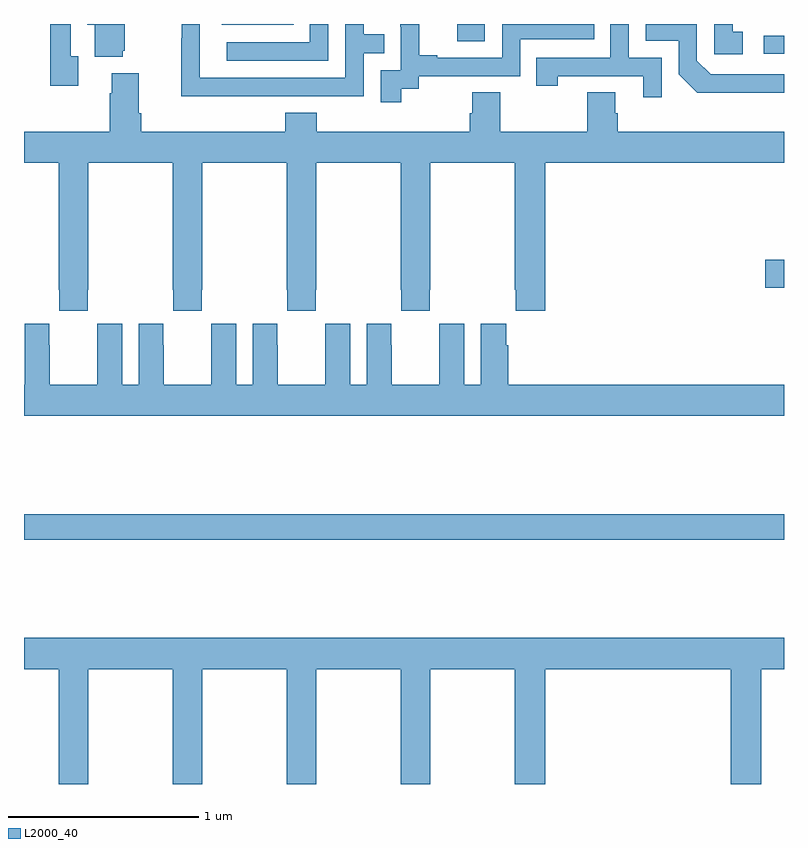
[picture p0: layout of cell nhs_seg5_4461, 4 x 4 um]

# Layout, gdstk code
import gdstk
lib = gdstk.Library(unit=1e-6, precision=1e-09)
def R(c, l, rs):  # rectangles x0, y0, x1, y1
    for r in rs: c.add(gdstk.rectangle(r[:2], r[2:], *l))
def P(c, l, *ps):  # polygons
    for p in ps: c.add(gdstk.Polygon(p, *l))
L2000_40 = (2000, 40)

nhs_seg5_4461 = lib.new_cell('nhs_seg5_4461')
R(nhs_seg5_4461, L2000_40, [(373,880.084,377,880.22), (376.902,881.411,377,881.558), (376.893,882.642,377,882.738), (375.279,882.708,375.426,882.799), (374.042,882.794,374.42,882.799)])
P(nhs_seg5_4461, L2000_40, [(374.601,882.799),(374.505,882.799),(374.505,882.702),(374.067,882.702),(374.067,882.606),(374.601,882.606)],
  [(376.356,882.621),(376.182,882.621),(376.182,882.799),(376.086,882.799),(376.086,882.621),(375.697,882.621),(375.697,882.474),(375.808,882.474),(375.808,882.525),(376.259,882.525),(376.259,882.414),(376.356,882.414)],
  [(373.285,882.63),(373.245,882.63),(373.245,882.799),(373.137,882.799),(373.137,882.474),(373.285,882.474)],
  [(373.52,882.657),(373.531,882.657),(373.531,882.799),(373.334,882.799),(373.334,882.794),(373.373,882.794),(373.373,882.626),(373.52,882.626)],
  [(374.291,882.42),(374.787,882.42),(374.787,882.645),(374.897,882.645),(374.897,882.746),(374.787,882.746),(374.787,882.799),(374.691,882.799),(374.691,882.516),(373.926,882.516),(373.926,882.799),(373.83,882.799),(373.83,882.725),(373.828,882.725),(373.828,882.419),(374.291,882.419)],
  [(376.783,882.759),(376.73,882.759),(376.73,882.799),(376.632,882.799),(376.632,882.639),(376.783,882.639)],
  [(374.986,882.457),(375.078,882.457),(375.078,882.525),(375.612,882.525),(375.612,882.72),(376.001,882.72),(376.001,882.799),(375.516,882.799),(375.516,882.621),(375.175,882.621),(375.175,882.634),(375.08,882.634),(375.08,882.799),(374.981,882.799),(374.981,882.785),(374.982,882.785),(374.982,882.555),(374.877,882.555),(374.877,882.387),(374.986,882.387)],
  [(376.952,882.438),(377,882.438),(377,882.534),(376.614,882.534),(376.542,882.606),(376.542,882.799),(376.272,882.799),(376.272,882.711),(376.446,882.711),(376.446,882.534),(376.544,882.437),(376.952,882.437)],
  [(373.335,881.401),(373.338,881.401),(373.338,882.068),(373.783,882.068),(373.783,881.401),(373.785,881.401),(373.785,881.289),(373.935,881.289),(373.935,881.401),(373.938,881.401),(373.938,882.068),(374.383,882.068),(374.383,881.401),(374.385,881.401),(374.385,881.289),(374.535,881.289),(374.535,881.401),(374.538,881.401),(374.538,882.068),(374.983,882.068),(374.983,881.401),(374.985,881.401),(374.985,881.289),(375.135,881.289),(375.135,881.401),(375.138,881.401),(375.138,882.068),(375.583,882.068),(375.583,881.401),(375.589,881.401),(375.589,881.289),(375.743,881.289),(375.743,882.068),(377,882.068),(377,882.232),(376.124,882.232),(376.124,882.33),(376.111,882.33),(376.111,882.44),(375.964,882.44),(375.964,882.232),(375.507,882.232),(375.507,882.44),(375.359,882.44),(375.359,882.33),(375.347,882.33),(375.347,882.232),(374.54,882.232),(374.54,882.331),(374.375,882.331),(374.375,882.232),(373.616,882.232),(373.616,882.328),(373.603,882.328),(373.603,882.541),(373.463,882.541),(373.463,882.434),(373.451,882.434),(373.451,882.232),(373,882.232),(373,882.068),(373.183,882.068),(373.183,881.401),(373.185,881.401),(373.185,881.289),(373.335,881.289)],
  [(374.586,881.221),(374.586,881.108),(374.585,881.108),(374.585,880.9),(374.335,880.9),(374.335,881.108),(374.334,881.108),(374.334,881.221),(374.204,881.221),(374.204,880.9),(374.116,880.9),(374.116,881.221),(373.986,881.221),(373.986,881.108),(373.985,881.108),(373.985,880.9),(373.735,880.9),(373.735,881.108),(373.734,881.108),(373.734,881.221),(373.604,881.221),(373.604,880.9),(373.516,880.9),(373.516,881.221),(373.386,881.221),(373.386,881.108),(373.385,881.108),(373.385,880.9),(373.135,880.9),(373.135,881.108),(373.134,881.108),(373.134,881.221),(373.004,881.221),(373.004,880.9),(373,880.9),(373,880.736),(377,880.736),(377,880.9),(375.548,880.9),(375.548,881.108),(375.538,881.108),(375.538,881.221),(375.404,881.221),(375.404,880.9),(375.316,880.9),(375.316,881.221),(375.186,881.221),(375.186,881.108),(375.185,881.108),(375.185,880.9),(374.935,880.9),(374.935,881.108),(374.934,881.108),(374.934,881.221),(374.804,881.221),(374.804,880.9),(374.716,880.9),(374.716,881.221)],
  [(375.743,879.404),(376.721,879.404),(376.721,878.799),(376.881,878.799),(376.881,879.404),(377,879.404),(377,879.568),(373,879.568),(373,879.404),(373.183,879.404),(373.183,878.799),(373.338,878.799),(373.338,879.404),(373.783,879.404),(373.783,878.799),(373.938,878.799),(373.938,879.404),(374.383,879.404),(374.383,878.799),(374.538,878.799),(374.538,879.404),(374.983,879.404),(374.983,878.799),(375.138,878.799),(375.138,879.404),(375.583,879.404),(375.583,878.799),(375.743,878.799)])

lib.write_gds('nhs_seg5_4461.gds')
